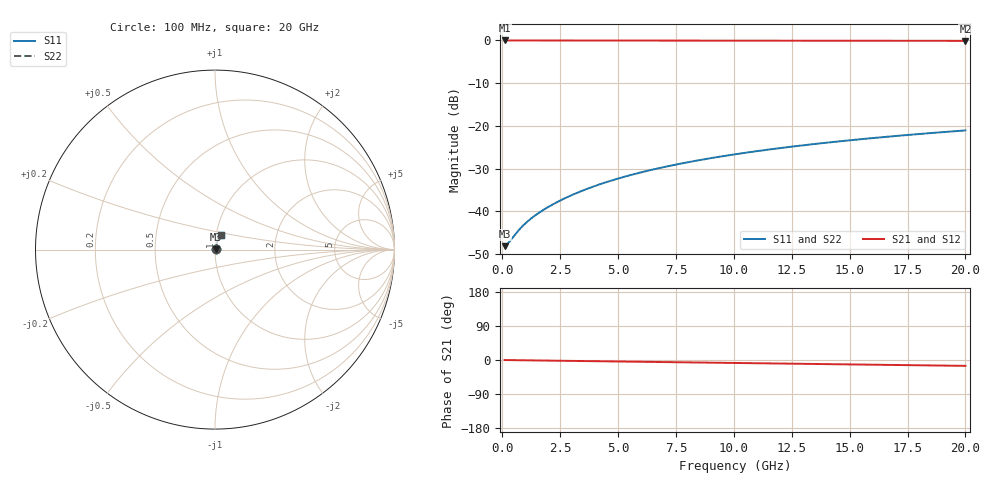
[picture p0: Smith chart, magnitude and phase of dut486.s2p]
! Touchstone file exported from HFSS 2026.1.0
!  File:  C:/ffzhzh/LocalFiles/Ansys_Project_Files/temp_train_BSMRDL_486_1783013925_53980.aedt
!  Generated:  01:39:57 AM Jul  3, 2026
!  Design:  BSMRDL
!  Project:  temp_train_BSMRDL_486_1783013925_53980
! Variables:
!  h_bsmrdl = 2.09um
!  h_ox = 20um
!  h_rdl = 5um
!  h_sub = 80um
!  h_tmrdl = 5um
!  h_tsv = 80um
!  h_via = 3um
!  l_bsmrdl = 256.69um
!  l_sub = 656.69um
!  l_tmrdl = 200um
!  m_sub = 200um
!  pitch = 17.28um
!  r_tsv = 6um
!  s_tmrdl = 10um
!  w_bsmrdl = 12.01um
!  w_sub = 500um
!  w_tmrdl = 12um
!  x_tsv_center1 = 206um
!  x_tsv_center2 = 474.7um
!  x_tsv_center3 = 686.7um
!  x_tsv_center4 = 955.4um
!  x_tsv_center5 = 1167.4um
!  x_tsv_center6 = 1436.1um
# GHz S MA R 50.000000
! Terminal data exported
! Port[1] = BSM_RDL1_1_T1
! Port[2] = BSM_RDL1_1_T2
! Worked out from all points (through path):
!   200 points, 100 MHz to 20 GHz, reference 50 ohm
!   highest |S21| = -0.03 dB at 100 MHz (marker M1); lowest = -0.1 dB at 20 GHz (marker M2)
!   group delay of S21, straight-line fit = 2.14 ps
!   lowest |S11| = -48.1 dB at 100 MHz (marker M3), VSWR 1.01, Z = 50.4 + j0.063 ohm
!   |S11| at or under -10 dB: start of sweep to end of sweep
!   |S22| runs from -48.1 to -21.1 dB; largest |S21 - S12| = 3e-15
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0.1  0.003933 9.1  0.9961 -0.1  0.9961 -0.1  0.003933 9.1
! Gamma 0 0 0 0
! Port Impedance 50 0 50 0
0.2  0.004123 17.5  0.9961 -0.2  0.9961 -0.2  0.004123 17.5
0.3  0.00441 24.7  0.996 -0.3  0.996 -0.3  0.00441 24.7
0.7  0.006003 42.1  0.9956 -0.6  0.9956 -0.6  0.006003 42.1
0.9  0.006853 46.9  0.9954 -0.8  0.9954 -0.8  0.006853 46.9
1.2  0.0081 52.0  0.9951 -1.0  0.9951 -1.0  0.0081 52.0
1.5  0.009322 55.7  0.9949 -1.2  0.9949 -1.2  0.009322 55.7
1.9  0.01095 59.7  0.9947 -1.5  0.9947 -1.5  0.01095 59.7
2.4  0.01301 63.3  0.9945 -1.9  0.9945 -1.9  0.01301 63.3
2.9  0.01511 66.0  0.9943 -2.3  0.9943 -2.3  0.01511 66.0
3.5  0.01768 68.4  0.9941 -2.8  0.9941 -2.8  0.01768 68.4
4.2  0.02073 70.3  0.994 -3.3  0.994 -3.3  0.02073 70.3
5  0.02425 71.7  0.9937 -3.9  0.9937 -3.9  0.02425 71.7
5.9  0.02824 72.7  0.9934 -4.6  0.9934 -4.6  0.02824 72.7
6.8  0.03224 73.2  0.9931 -5.3  0.9931 -5.3  0.03223 73.2
8.4  0.03932 73.5  0.9925 -6.6  0.9925 -6.6  0.03932 73.5
10.1  0.0468 73.2  0.9917 -7.9  0.9917 -7.9  0.0468 73.3
11.7  0.05377 72.7  0.9909 -9.1  0.9909 -9.1  0.05377 72.7
13.4  0.06109 71.9  0.99 -10.4  0.99 -10.4  0.06109 71.9
15  0.06789 71.0  0.9891 -11.7  0.9891 -11.7  0.06789 71.1
16.7  0.07502 70.0  0.988 -13.0  0.988 -13.0  0.07502 70.1
20  0.08856 67.9  0.9859 -15.5  0.9859 -15.5  0.08856 68.0
